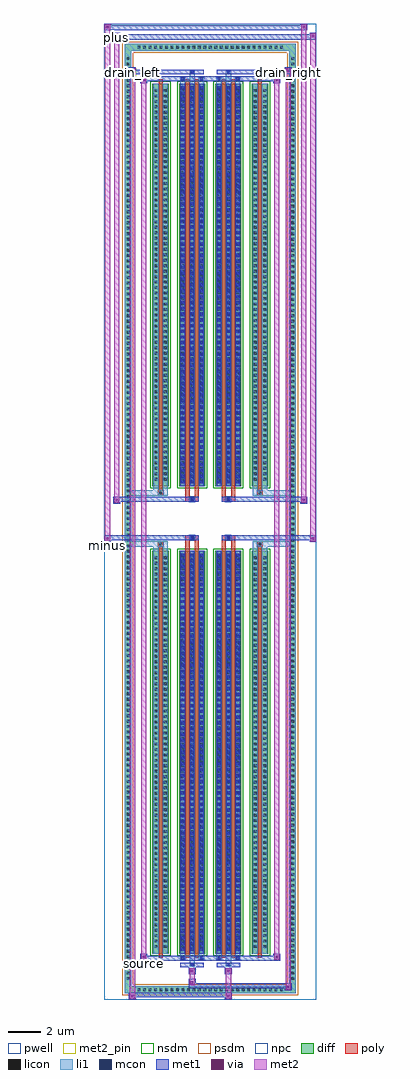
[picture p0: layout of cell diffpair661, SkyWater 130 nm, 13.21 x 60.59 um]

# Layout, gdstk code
import gdstk
lib = gdstk.Library(unit=1e-6, precision=5e-09)
def R(c, l, rs):  # rectangles x0, y0, x1, y1
    for r in rs: c.add(gdstk.rectangle(r[:2], r[2:], *l))
def A(c, l, x, y, w, h, nx, ny, dx, dy):  # array of equal rectangles
    R(c, l, [(x+i*dx, y+j*dy, x+i*dx+w, y+j*dy+h) for i in range(nx) for j in range(ny)])
def P(c, l, *ps):  # polygons
    for p in ps: c.add(gdstk.Polygon(p, *l))
pwell = (64, 44)
diff = (65, 20)
poly = (66, 20)
licon = (66, 44)
li1 = (67, 20)
mcon = (67, 44)
met1 = (68, 20)
via = (68, 44)
met2_pin = (69, 16)
met2 = (69, 20)
nsdm = (93, 44)
psdm = (94, 20)
npc = (95, 20)

diffpair661 = lib.new_cell('diffpair661')
R(diffpair661, pwell, [(-6.59,-29.86,6.59,30.73), (-3.91,-28.05,-0.01,-0.825), (0.01,-28.05,3.91,-0.825), (-3.91,0.825,-0.01,28.05), (0.01,0.825,3.91,28.05)])
A(diffpair661, diff, -4.625, -29.46, 0.41, 0.41, 27, 2, 0.34, 58.51)
A(diffpair661, diff, -5.32, -28.765, 0.41, 0.41, 1, 169, 0, 0.34)
A(diffpair661, diff, 4.91, -28.765, 0.41, 0.41, 1, 169, 0, 0.34)
R(diffpair661, diff, [(-4.625,-29.46,4.625,-29.05), (-5.32,-28.765,-4.91,28.765), (4.91,-28.765,5.32,28.765), (-3.6,-27.005,-2.57,-2.005), (-1.93,-27.005,-0.32,-2.005), (0.32,-27.005,1.93,-2.005), (2.57,-27.005,3.6,-2.005), (-3.6,2.005,-2.57,27.005), (-1.93,2.005,-0.32,27.005), (0.32,2.005,1.93,27.005), (2.57,2.005,3.6,27.005), (-4.625,29.05,4.625,29.46)])
P(diffpair661, diff, [(5.32,29.46),(-5.32,29.46),(-5.32,-29.05),(-4.91,-29.05),(-4.91,29.05),(4.91,29.05),(4.91,-29.05),(-4.91,-29.05),(-5.32,-29.05),(-5.32,-29.46),(5.32,-29.46)])
R(diffpair661, poly, [(-3.21,-27.255,-2.96,-1.755), (-1.54,-27.255,-1.29,-1.755), (-0.96,-27.255,-0.71,-1.755), (0.71,-27.255,0.96,-1.755), (1.29,-27.255,1.54,-1.755), (2.96,-27.255,3.21,-1.755), (-3.25,-1.755,-2.92,-1.425), (-3.25,-1.755,-2.92,-1.425), (-1.54,-1.755,-1.29,-1.355), (-0.96,-1.755,-0.71,-1.355), (0.71,-1.755,0.96,-1.355), (1.29,-1.755,1.54,-1.355), (2.92,-1.755,3.25,-1.425), (2.92,-1.755,3.25,-1.425), (-1.54,-1.355,-0.71,-1.025), (-1.29,-1.355,-0.96,-1.025), (0.71,-1.355,1.54,-1.025), (0.96,-1.355,1.29,-1.025), (-1.54,1.025,-0.71,1.355), (-1.29,1.025,-0.96,1.355), (0.71,1.025,1.54,1.355), (0.96,1.025,1.29,1.355), (-1.54,1.355,-1.29,1.755), (-0.96,1.355,-0.71,1.755), (0.71,1.355,0.96,1.755), (1.29,1.355,1.54,1.755), (-3.25,1.425,-2.92,1.755), (-3.25,1.425,-2.92,1.755), (2.92,1.425,3.25,1.755), (2.92,1.425,3.25,1.755), (-3.21,1.755,-2.96,27.255), (-1.54,1.755,-1.29,27.255), (-0.96,1.755,-0.71,27.255), (0.71,1.755,0.96,27.255), (1.29,1.755,1.54,27.255), (2.96,1.755,3.21,27.255)])
A(diffpair661, licon, -4.505, -29.34, 0.17, 0.17, 27, 2, 0.34, 58.51)
A(diffpair661, licon, -5.2, -28.645, 0.17, 0.17, 1, 169, 0, 0.34)
A(diffpair661, licon, 5.03, -28.645, 0.17, 0.17, 1, 169, 0, 0.34)
A(diffpair661, licon, -3.46, -26.66, 0.17, 0.17, 1, 72, 0, 0.34)
A(diffpair661, licon, -2.88, -26.66, 0.17, 0.17, 1, 72, 0, 0.34)
A(diffpair661, licon, -1.79, -26.66, 0.17, 0.17, 3, 72, 0.58, 0.34)
A(diffpair661, licon, 0.46, -26.66, 0.17, 0.17, 3, 72, 0.58, 0.34)
A(diffpair661, licon, 2.71, -26.66, 0.17, 0.17, 1, 72, 0, 0.34)
A(diffpair661, licon, 3.29, -26.66, 0.17, 0.17, 1, 72, 0, 0.34)
A(diffpair661, licon, -3.46, 2.35, 0.17, 0.17, 1, 72, 0, 0.34)
A(diffpair661, licon, -2.88, 2.35, 0.17, 0.17, 1, 72, 0, 0.34)
A(diffpair661, licon, -1.79, 2.35, 0.17, 0.17, 3, 72, 0.58, 0.34)
A(diffpair661, licon, 0.46, 2.35, 0.17, 0.17, 3, 72, 0.58, 0.34)
A(diffpair661, licon, 2.71, 2.35, 0.17, 0.17, 1, 72, 0, 0.34)
A(diffpair661, licon, 3.29, 2.35, 0.17, 0.17, 1, 72, 0, 0.34)
R(diffpair661, licon, [(-3.17,-1.675,-3,-1.505), (3,-1.675,3.17,-1.505), (-1.21,-1.275,-1.04,-1.105), (1.04,-1.275,1.21,-1.105), (-1.21,1.105,-1.04,1.275), (1.04,1.105,1.21,1.275), (-3.17,1.505,-3,1.675), (3,1.505,3.17,1.675)])
A(diffpair661, li1, -4.585, -29.42, 0.33, 0.33, 27, 2, 0.34, 58.51)
A(diffpair661, li1, -5.28, -28.725, 0.33, 0.33, 1, 169, 0, 0.34)
A(diffpair661, li1, 4.95, -28.725, 0.33, 0.33, 1, 169, 0, 0.34)
A(diffpair661, li1, -1.87, -27.005, 0.33, 25, 3, 2, 0.58, 29.01)
A(diffpair661, li1, 0.38, -27.005, 0.33, 25, 3, 2, 0.58, 29.01)
A(diffpair661, li1, -1.79, -26.83, 0.17, 0.17, 3, 69, 0.58, 0.36)
A(diffpair661, li1, -1.79, -26.83, 0.17, 24.65, 3, 2, 0.58, 29.01)
A(diffpair661, li1, 0.46, -26.83, 0.17, 0.17, 3, 69, 0.58, 0.36)
A(diffpair661, li1, 0.46, -26.83, 0.17, 24.65, 3, 2, 0.58, 29.01)
A(diffpair661, li1, -3.54, -26.74, 0.33, 0.33, 1, 72, 0, 0.34)
A(diffpair661, li1, -2.96, -26.74, 0.33, 0.33, 1, 72, 0, 0.34)
A(diffpair661, li1, -1.87, -26.74, 0.33, 0.33, 3, 72, 0.58, 0.34)
A(diffpair661, li1, 0.38, -26.74, 0.33, 0.33, 3, 72, 0.58, 0.34)
A(diffpair661, li1, 2.63, -26.74, 0.33, 0.33, 1, 72, 0, 0.34)
A(diffpair661, li1, 3.21, -26.74, 0.33, 0.33, 1, 72, 0, 0.34)
A(diffpair661, li1, -1.79, 2.18, 0.17, 0.17, 3, 69, 0.58, 0.36)
A(diffpair661, li1, 0.46, 2.18, 0.17, 0.17, 3, 69, 0.58, 0.36)
A(diffpair661, li1, -3.54, 2.27, 0.33, 0.33, 1, 72, 0, 0.34)
A(diffpair661, li1, -2.96, 2.27, 0.33, 0.33, 1, 72, 0, 0.34)
A(diffpair661, li1, -1.87, 2.27, 0.33, 0.33, 3, 72, 0.58, 0.34)
A(diffpair661, li1, 0.38, 2.27, 0.33, 0.33, 3, 72, 0.58, 0.34)
A(diffpair661, li1, 2.63, 2.27, 0.33, 0.33, 1, 72, 0, 0.34)
A(diffpair661, li1, 3.21, 2.27, 0.33, 0.33, 1, 72, 0, 0.34)
R(diffpair661, li1, [(-5.32,-29.46,-4.91,-29.05), (-5.32,-29.46,-4.91,-29.05), (-4.91,-29.46,4.91,-29.05), (4.91,-29.46,5.32,-29.05), (4.91,-29.46,5.32,-29.05), (-5.32,-29.05,-4.91,29.05), (4.91,-29.05,5.32,29.05), (-1.29,-27.81,-0.96,-27.005), (-1.21,-27.81,-1.04,-27.64), (0.96,-27.81,1.29,-27.005), (1.04,-27.81,1.21,-27.64), (-1.87,-27.38,-1.54,-27.005), (-1.79,-27.38,-1.62,-27.21), (-0.71,-27.38,-0.38,-27.005), (-0.63,-27.38,-0.46,-27.21), (0.38,-27.38,0.71,-27.005), (0.46,-27.38,0.63,-27.21), (1.54,-27.38,1.87,-27.005), (1.62,-27.38,1.79,-27.21), (-3.54,-27.005,-3.21,-2.005), (-2.96,-27.005,-2.63,-2.005), (2.63,-27.005,2.96,-2.005), (3.21,-27.005,3.54,-2.005), (-3.54,-2.005,-3.21,-1.425), (-2.96,-2.005,-2.63,-1.425), (2.63,-2.005,2.96,-1.425), (3.21,-2.005,3.54,-1.425), (-5.32,-1.755,-3.25,-1.425), (-3.54,-1.755,-3.25,-1.425), (-3.25,-1.755,-2.92,-1.425), (-2.92,-1.755,-2.63,-1.425), (2.63,-1.755,2.92,-1.425), (2.92,-1.755,3.25,-1.425), (2.92,-1.755,5.32,-1.425), (3.25,-1.755,3.54,-1.425), (-1.29,-1.355,-0.96,-1.025), (0.96,-1.355,1.29,-1.025), (-1.29,1.025,-0.96,1.355), (0.96,1.025,1.29,1.355), (-5.32,1.425,-3.25,1.755), (-3.54,1.425,-3.25,1.755), (-3.54,1.425,-3.21,2.005), (-3.25,1.425,-2.92,1.755), (-2.96,1.425,-2.63,2.005), (-2.92,1.425,-2.63,1.755), (2.63,1.425,2.92,1.755), (2.63,1.425,2.96,2.005), (2.92,1.425,3.25,1.755), (2.92,1.425,5.32,1.755), (3.21,1.425,3.54,2.005), (3.25,1.425,3.54,1.755), (-3.54,2.005,-3.21,27.005), (-2.96,2.005,-2.63,27.005), (2.63,2.005,2.96,27.005), (3.21,2.005,3.54,27.005), (-1.87,27.005,-1.54,27.38), (-1.29,27.005,-0.96,27.81), (-0.71,27.005,-0.38,27.38), (0.38,27.005,0.71,27.38), (0.96,27.005,1.29,27.81), (1.54,27.005,1.87,27.38), (-1.79,27.21,-1.62,27.38), (-0.63,27.21,-0.46,27.38), (0.46,27.21,0.63,27.38), (1.62,27.21,1.79,27.38), (-1.21,27.64,-1.04,27.81), (1.04,27.64,1.21,27.81), (-5.32,29.05,-4.91,29.46), (-5.32,29.05,-4.91,29.46), (-4.91,29.05,4.91,29.46), (4.91,29.05,5.32,29.46), (4.91,29.05,5.32,29.46)])
A(diffpair661, mcon, -1.79, -26.83, 0.17, 0.17, 3, 69, 0.58, 0.36)
A(diffpair661, mcon, 0.46, -26.83, 0.17, 0.17, 3, 69, 0.58, 0.36)
A(diffpair661, mcon, -1.79, 2.18, 0.17, 0.17, 3, 69, 0.58, 0.36)
A(diffpair661, mcon, 0.46, 2.18, 0.17, 0.17, 3, 69, 0.58, 0.36)
R(diffpair661, mcon, [(-1.21,-27.81,-1.04,-27.64), (1.04,-27.81,1.21,-27.64), (-1.79,-27.38,-1.62,-27.21), (-0.63,-27.38,-0.46,-27.21), (0.46,-27.38,0.63,-27.21), (1.62,-27.38,1.79,-27.21), (-1.21,-1.275,-1.04,-1.105), (1.04,-1.275,1.21,-1.105), (-1.21,1.105,-1.04,1.275), (1.04,1.105,1.21,1.275), (-1.79,27.21,-1.62,27.38), (-0.63,27.21,-0.46,27.38), (0.46,27.21,0.63,27.38), (1.62,27.21,1.79,27.38), (-1.21,27.64,-1.04,27.81), (1.04,27.64,1.21,27.81)])
A(diffpair661, met1, -1.85, -27.005, 0.29, 25, 3, 2, 0.58, 29.01)
A(diffpair661, met1, 0.4, -27.005, 0.29, 25, 3, 2, 0.58, 29.01)
A(diffpair661, met1, -1.85, -26.89, 0.29, 0.29, 3, 69, 0.58, 0.36)
A(diffpair661, met1, 0.4, -26.89, 0.29, 0.29, 3, 69, 0.58, 0.36)
A(diffpair661, met1, -1.85, 2.12, 0.29, 0.29, 3, 69, 0.58, 0.36)
A(diffpair661, met1, 0.4, 2.12, 0.29, 0.29, 3, 69, 0.58, 0.36)
R(diffpair661, met1, [(-5.05,-29.86,-4.62,-29.43), (0.91,-29.86,1.34,-29.43), (-5.05,-29.72,1.34,-29.43), (4.62,-29.29,5.05,-28.86), (-1.34,-29.15,5.05,-28.86), (-1.34,-29.01,-0.91,-28.58), (-1.34,-28.3,-0.91,-27.87), (0.91,-28.3,1.34,-27.87), (-1.85,-27.87,-0.4,-27.58), (-1.27,-27.87,-0.98,-27.58), (0.4,-27.87,1.85,-27.58), (0.98,-27.87,1.27,-27.58), (-4.34,-27.44,-3.91,-27.01), (-4.34,-27.44,-1.85,-27.15), (-1.85,-27.44,-1.56,-27.15), (-1.85,-27.44,-0.4,-27.15), (-0.69,-27.44,-0.4,-27.15), (-0.4,-27.44,0.4,-27.15), (0.4,-27.44,0.69,-27.15), (0.4,-27.44,1.85,-27.15), (1.56,-27.44,1.85,-27.15), (1.85,-27.44,4.34,-27.15), (3.91,-27.44,4.34,-27.01), (-6.59,-1.455,-6.16,-1.025), (6.16,-1.455,6.59,-1.025), (-6.59,-1.355,-0.71,-1.025), (-1.54,-1.355,-0.71,-1.025), (0.71,-1.355,1.54,-1.025), (0.71,-1.355,6.59,-1.025), (-1.27,-1.335,-0.98,-1.045), (0.98,-1.335,1.27,-1.045), (-6.02,0.925,-5.59,1.355), (5.59,0.925,6.02,1.355), (-6.02,1.025,-1.54,1.355), (-1.54,1.025,-0.71,1.355), (0.71,1.025,1.54,1.355), (1.54,1.025,6.02,1.355), (-1.27,1.045,-0.98,1.335), (0.98,1.045,1.27,1.335), (-4.34,27.01,-3.91,27.44), (3.91,27.01,4.34,27.44), (-4.34,27.15,-1.85,27.44), (-1.85,27.15,-1.56,27.44), (-1.85,27.15,-0.4,27.44), (-0.69,27.15,-0.4,27.44), (-0.4,27.15,0.4,27.44), (0.4,27.15,0.69,27.44), (0.4,27.15,1.85,27.44), (1.56,27.15,1.85,27.44), (1.85,27.15,4.34,27.44), (-5.05,27.58,-4.62,28.01), (-5.05,27.58,-1.85,27.87), (-1.85,27.58,-0.4,27.87), (-1.27,27.58,-0.98,27.87), (0.4,27.58,1.85,27.87), (0.98,27.58,1.27,27.87), (1.85,27.58,5.05,27.87), (4.62,27.58,5.05,28.01), (-6.02,29.73,-5.59,30.16), (-6.02,29.73,-3.91,30.06), (-3.91,29.73,3.91,30.06), (3.91,29.73,6.59,30.06), (6.16,29.73,6.59,30.16), (-6.59,30.3,-6.16,30.73), (-6.59,30.3,-3.91,30.63), (-3.91,30.3,3.91,30.63), (3.91,30.3,6.02,30.63), (5.59,30.3,6.02,30.73)])
R(diffpair661, via, [(-4.91,-29.72,-4.76,-29.57), (1.05,-29.72,1.2,-29.57), (4.76,-29.15,4.91,-29), (-1.2,-28.87,-1.05,-28.72), (-1.2,-28.16,-1.05,-28.01), (1.05,-28.16,1.2,-28.01), (-4.2,-27.3,-4.05,-27.15), (4.05,-27.3,4.2,-27.15), (-6.45,-1.315,-6.3,-1.165), (6.3,-1.315,6.45,-1.165), (-5.88,1.065,-5.73,1.215), (5.73,1.065,5.88,1.215), (-4.2,27.15,-4.05,27.3), (4.05,27.15,4.2,27.3), (-4.91,27.72,-4.76,27.87), (4.76,27.72,4.91,27.87), (-5.88,29.87,-5.73,30.02), (6.3,29.87,6.45,30.02), (-6.45,30.44,-6.3,30.59), (5.73,30.44,5.88,30.59)])
R(diffpair661, met2_pin, [(-4.375,-27.89,-3.875,-27.39), (-6.625,-1.905,-6.125,-1.405), (-5.085,27.46,-4.585,27.96), (4.585,27.46,5.085,27.96), (-6.055,29.61,-5.555,30.11)])
R(diffpair661, met2, [(-5,-29.81,-4.67,-29.48), (-5,-29.81,-4.67,27.96), (0.96,-29.81,1.29,-29.48), (0.96,-29.48,1.29,-28.25), (4.67,-29.24,5,-28.91), (4.67,-29.24,5,27.96), (-1.29,-28.96,-0.96,-28.63), (-1.29,-28.63,-0.96,-28.25), (-1.29,-28.25,-0.96,-27.92), (0.96,-28.25,1.29,-27.92), (-4.29,-27.39,-3.96,-27.06), (-4.29,-27.39,-3.96,27.39), (3.96,-27.39,4.29,-27.06), (3.96,-27.39,4.29,27.39), (-6.54,-1.405,-6.21,-1.075), (-6.54,-1.405,-6.21,30.68), (6.21,-1.405,6.54,-1.075), (6.21,-1.405,6.54,30.11), (-5.97,0.975,-5.64,1.305), (-5.97,0.975,-5.64,30.11), (5.64,0.975,5.97,1.305), (5.64,0.975,5.97,30.68), (-4.29,27.06,-3.96,27.39), (3.96,27.06,4.29,27.39), (-5,27.63,-4.67,27.96), (4.67,27.63,5,27.96), (-5.97,29.78,-5.64,30.11), (6.21,29.78,6.54,30.11), (-6.54,30.35,-6.21,30.68), (5.64,30.35,5.97,30.68)])
P(diffpair661, met2, [(6.54,-1.405),(6.54,-1.405),(6.54,-1.075),(6.54,-1.075)],
  [(6.54,29.78),(6.54,29.78),(6.54,30.11),(6.54,30.11)],
  [(-6.21,-1.405),(-6.21,-1.405),(-6.21,-1.075),(-6.21,-1.075)],
  [(-6.21,30.35),(-6.21,30.35),(-6.21,30.68),(-6.21,30.68)],
  [(5.97,0.975),(5.97,0.975),(5.97,1.305),(5.97,1.305)],
  [(5.97,30.35),(5.97,30.35),(5.97,30.68),(5.97,30.68)],
  [(-5.64,0.975),(-5.64,0.975),(-5.64,1.305),(-5.64,1.305)],
  [(-5.64,29.78),(-5.64,29.78),(-5.64,30.11),(-5.64,30.11)],
  [(-4.67,-29.81),(-4.67,-29.81),(-4.67,-29.48),(-4.67,-29.48)],
  [(-4.67,27.63),(-4.67,27.63),(-4.67,27.96),(-4.67,27.96)],
  [(5,-29.24),(5,-29.24),(5,-28.91),(5,-28.91)],
  [(5,27.63),(5,27.63),(5,27.96),(5,27.96)],
  [(-3.96,-27.39),(-3.96,-27.39),(-3.96,-27.06),(-3.96,-27.06)],
  [(-3.96,27.06),(-3.96,27.06),(-3.96,27.39),(-3.96,27.39)],
  [(4.29,-27.39),(4.29,-27.39),(4.29,-27.06),(4.29,-27.06)],
  [(4.29,27.06),(4.29,27.06),(4.29,27.39),(4.29,27.39)])
R(diffpair661, nsdm, [(-3.73,-27.135,-2.44,-1.875), (-2.06,-27.135,-0.19,-1.875), (0.19,-27.135,2.06,-1.875), (2.44,-27.135,3.73,-1.875), (-3.73,1.875,-2.44,27.135), (-2.06,1.875,-0.19,27.135), (0.19,1.875,2.06,27.135), (2.44,1.875,3.73,27.135)])
P(diffpair661, psdm, [(5.45,29.59),(-5.45,29.59),(-5.45,-28.92),(-4.78,-28.92),(-4.78,28.92),(4.78,28.92),(4.78,-28.92),(-4.78,-28.92),(-5.45,-28.92),(-5.45,-29.59),(5.45,-29.59)])
R(diffpair661, npc, [(-3.27,-1.775,-2.9,-1.405), (2.9,-1.775,3.27,-1.405), (-1.31,-1.375,-0.94,-1.005), (0.94,-1.375,1.31,-1.005), (-1.31,1.005,-0.94,1.375), (0.94,1.005,1.31,1.375), (-3.27,1.405,-2.9,1.775), (2.9,1.405,3.27,1.775)])
diffpair661.add(gdstk.Label('minus', (-6.375,-1.655), layer=69, texttype=5))
diffpair661.add(gdstk.Label('drain_right', (4.835,27.71), layer=69, texttype=5))
diffpair661.add(gdstk.Label('drain_left', (-4.835,27.71), layer=69, texttype=5))
diffpair661.add(gdstk.Label('source', (-4.125,-27.64), layer=69, texttype=5))
diffpair661.add(gdstk.Label('plus', (-5.805,29.86), layer=69, texttype=5))

lib.write_gds('diffpair661.gds')
